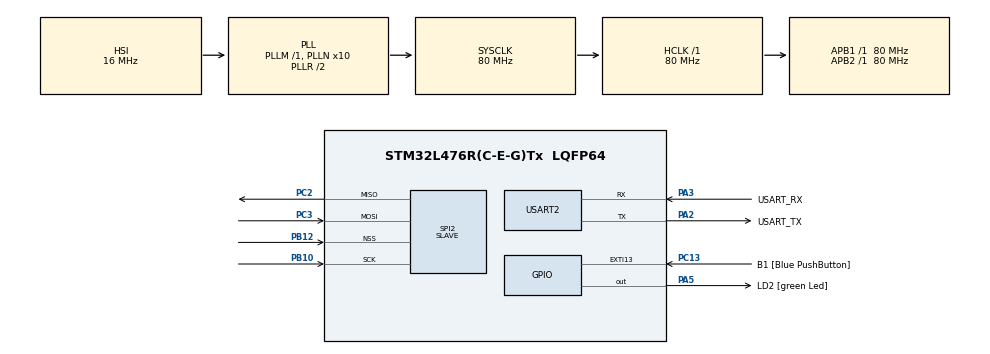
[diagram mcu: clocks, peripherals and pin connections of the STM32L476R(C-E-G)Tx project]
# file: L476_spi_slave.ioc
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Mcu.Family=STM32L4
Mcu.Name=STM32L476R(C-E-G)Tx
Mcu.Package=LQFP64
NVIC.PriorityGroup=NVIC_PRIORITYGROUP_4
PA13\ (JTMS-SWDIO).GPIO_Label=TMS
PA13\ (JTMS-SWDIO).Mode=Serial_Wire
PA13\ (JTMS-SWDIO).Signal=SYS_JTMS-SWDIO
PA14\ (JTCK-SWCLK).GPIO_Label=TCK
PA14\ (JTCK-SWCLK).Mode=Serial_Wire
PA14\ (JTCK-SWCLK).Signal=SYS_JTCK-SWCLK
PA2.GPIO_Label=USART_TX
PA2.GPIO_Mode=GPIO_MODE_AF_PP
PA2.GPIO_PuPd=GPIO_NOPULL
PA2.GPIO_Speed=GPIO_SPEED_FREQ_VERY_HIGH
PA2.Mode=Asynchronous
PA2.Signal=USART2_TX
PA3.GPIO_Label=USART_RX
PA3.GPIO_Mode=GPIO_MODE_AF_PP
PA3.GPIO_PuPd=GPIO_NOPULL
PA3.GPIO_Speed=GPIO_SPEED_FREQ_VERY_HIGH
PA3.Mode=Asynchronous
PA3.Signal=USART2_RX
PA5.GPIO_Label=LD2 [green Led]
PA5.GPIO_ModeDefaultOutputPP=GPIO_MODE_OUTPUT_PP
PA5.GPIO_PuPd=GPIO_NOPULL
PA5.GPIO_Speed=GPIO_SPEED_FREQ_LOW
PA5.Signal=GPIO_Output
PB10.Mode=Full_Duplex_Slave
PB10.Signal=SPI2_SCK
PB12.Mode=NSS_Signal_Hard_Input
PB12.Signal=SPI2_NSS
PB3\ (JTDO-TRACESWO).GPIO_Label=SWO
PB3\ (JTDO-TRACESWO).Signal=SYS_JTDO-SWO
PC13.GPIO_Label=B1 [Blue PushButton]
PC13.GPIO_ModeDefaultEXTI=GPIO_MODE_IT_FALLING
PC13.GPIO_PuPd=GPIO_NOPULL
PC13.Signal=GPXTI13
PC14-OSC32_IN\ (PC14).Mode=LSE-External-Oscillator
PC14-OSC32_IN\ (PC14).Signal=RCC_OSC32_IN
PC15-OSC32_OUT\ (PC15).Mode=LSE-External-Oscillator
PC15-OSC32_OUT\ (PC15).Signal=RCC_OSC32_OUT
PC2.Mode=Full_Duplex_Slave
PC2.Signal=SPI2_MISO
PC3.Mode=Full_Duplex_Slave
PC3.Signal=SPI2_MOSI
PH0-OSC_IN\ (PH0).Signal=RCC_OSC_IN
PH1-OSC_OUT\ (PH1).Signal=RCC_OSC_OUT
ProjectManager.HeapSize=0x200
ProjectManager.StackSize=0x400
ProjectManager.TargetToolchain=STM32CubeIDE
RCC.ADCFreq_Value=64000000
RCC.AHBFreq_Value=80000000
RCC.APB1Freq_Value=80000000
RCC.APB1TimFreq_Value=80000000
RCC.APB2Freq_Value=80000000
RCC.APB2TimFreq_Value=80000000
RCC.CortexFreq_Value=80000000
RCC.HCLKFreq_Value=80000000
RCC.HSE_VALUE=8000000
RCC.HSI_VALUE=16000000
RCC.MSI_VALUE=4000000
RCC.PLLN=10
RCC.PLLSourceVirtual=RCC_PLLSOURCE_HSI
RCC.PREFETCH_ENABLE=1
RCC.SYSCLKFreq_VALUE=80000000
RCC.SYSCLKSource=RCC_SYSCLKSOURCE_PLLCLK
RCC.USBFreq_Value=64000000
RCC.VCOOutputFreq_Value=160000000
SPI2.CLKPolarity=SPI_POLARITY_LOW
SPI2.DataSize=SPI_DATASIZE_8BIT
SPI2.Direction=SPI_DIRECTION_2LINES
SPI2.FirstBit=SPI_FIRSTBIT_MSB
SPI2.Mode=SPI_MODE_SLAVE
SPI2.VirtualNSS=VM_NSSHARD
SPI2.VirtualType=VM_SLAVE
USART2.VirtualMode-Asynchronous=VM_ASYNC
board=NUCLEO-L476RG

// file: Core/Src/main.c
/* USER CODE BEGIN Header */
/**
  ******************************************************************************
  * @file           : main.c
  * @brief          : Main program body
  ******************************************************************************
  * @attention
  *
  * <h2><center>&copy; Copyright (c) 2021 STMicroelectronics.
  * All rights reserved.</center></h2>
  *
  * This software component is licensed by ST under BSD 3-Clause license,
  * the "License"; You may not use this file except in compliance with the
  * License. You may obtain a copy of the License at:
  *                        opensource.org/licenses/BSD-3-Clause
  *
  ******************************************************************************
  */
/* USER CODE END Header */
#include "main.h"

/* USER CODE BEGIN Includes */
#include <errno.h>
#include <stdio.h>
/* USER CODE END Includes */

SPI_HandleTypeDef hspi2;

UART_HandleTypeDef huart2;

/* USER CODE BEGIN PV */
int _write(int fd, char* ptr, int len) {
  HAL_StatusTypeDef hstatus;
  hstatus = HAL_UART_Transmit(&huart2, (uint8_t *) ptr, len, HAL_MAX_DELAY);
  if (hstatus == HAL_OK)
    return len;
  else
    return EIO;
}
/* USER CODE END PV */

void SystemClock_Config(void);
static void MX_GPIO_Init(void);
static void MX_USART2_UART_Init(void);
static void MX_SPI2_Init(void);
/* USER CODE BEGIN PFP */
uint8_t rx_spi_buff[512] = {0};
uint8_t tx_spi_buff[512] = {0};
/* USER CODE END PFP */

/* USER CODE BEGIN 0 */
#include "process_header.h"

int receive() {
  int ret = -1;
  HAL_StatusTypeDef hstatus = HAL_SPI_Receive(&hspi2, rx_spi_buff, 1, 500);
  if (hstatus == HAL_OK) {
    ret = rx_spi_buff[0];
  }
  else {
//    printf("failed\n");
  }

  return ret;
}

int transmit(uint8_t *input, size_t size) {
  int ret = -1;
  uint8_t rx_data = 0;
  HAL_StatusTypeDef hstatus = HAL_SPI_TransmitReceive(&hspi2, input, &rx_data, size, 500);
  if (hstatus == HAL_OK) {
    ret = rx_spi_buff[0];
  }
  else {
  ;
//    printf("failed\n");
  }

  return ret;
}

/* USER CODE END 0 */

int main(void)
{

  /* MCU Configuration--------------------------------------------------------*/

  /* Reset of all peripherals, Initializes the Flash interface and the Systick. */
  HAL_Init();

  /* Configure the system clock */
  SystemClock_Config();

  /* Initialize all configured peripherals */
  MX_GPIO_Init();
  MX_USART2_UART_Init();
  MX_SPI2_Init();

  /* Infinite loop */
  /* USER CODE BEGIN WHILE */

  register_transmit_callback(transmit);

  while (1) {
    int val = receive();
    if (val == -1) {
      // no new data
      set_state(STATE_IDLE);
      continue;
    }

    enum state st = get_state(val);
    if (st == STATE_TRANSMIT) {

      uint8_t *header = get_header();
      struct cmd *tpm_command = get_command();
      uint16_t data = 0;

      if (tpm_command->rw == WRITE_REQ) {
        data = receive();
      } else {
        data = 0x80;
        transmit((uint8_t *)&data, 1);
      }

//      printf("header %x %x %x %x\n", header[0], header[1], header[2], header[3]);
      printf("addr 0x%lx size %d dir: %s\n", tpm_command->addr, tpm_command->size, tpm_command->rw ? "read" : "write");

      if (tpm_command->rw == WRITE_REQ) {
        printf("received data %x\n", data);
      } else {
        printf("sent data %x\n", data);
      }

      printf("\n");

      set_state(STATE_IDLE);
    }
    /* USER CODE END WHILE */
  }
}

void SystemClock_Config(void)
{
  RCC_OscInitTypeDef RCC_OscInitStruct = {0};
  RCC_ClkInitTypeDef RCC_ClkInitStruct = {0};

  /** Configure the main internal regulator output voltage
  */
  if (HAL_PWREx_ControlVoltageScaling(PWR_REGULATOR_VOLTAGE_SCALE1) != HAL_OK)
  {
    Error_Handler();
  }
  /** Initializes the RCC Oscillators according to the specified parameters
  * in the RCC_OscInitTypeDef structure.
  */
  RCC_OscInitStruct.OscillatorType = RCC_OSCILLATORTYPE_HSI;
  RCC_OscInitStruct.HSIState = RCC_HSI_ON;
  RCC_OscInitStruct.HSICalibrationValue = RCC_HSICALIBRATION_DEFAULT;
  RCC_OscInitStruct.PLL.PLLState = RCC_PLL_ON;
  RCC_OscInitStruct.PLL.PLLSource = RCC_PLLSOURCE_HSI;
  RCC_OscInitStruct.PLL.PLLM = 1;
  RCC_OscInitStruct.PLL.PLLN = 10;
  RCC_OscInitStruct.PLL.PLLP = RCC_PLLP_DIV7;
  RCC_OscInitStruct.PLL.PLLQ = RCC_PLLQ_DIV2;
  RCC_OscInitStruct.PLL.PLLR = RCC_PLLR_DIV2;
  if (HAL_RCC_OscConfig(&RCC_OscInitStruct) != HAL_OK)
  {
    Error_Handler();
  }
  /** Initializes the CPU, AHB and APB buses clocks
  */
  RCC_ClkInitStruct.ClockType = RCC_CLOCKTYPE_HCLK|RCC_CLOCKTYPE_SYSCLK
                              |RCC_CLOCKTYPE_PCLK1|RCC_CLOCKTYPE_PCLK2;
  RCC_ClkInitStruct.SYSCLKSource = RCC_SYSCLKSOURCE_PLLCLK;
  RCC_ClkInitStruct.AHBCLKDivider = RCC_SYSCLK_DIV1;
  RCC_ClkInitStruct.APB1CLKDivider = RCC_HCLK_DIV1;
  RCC_ClkInitStruct.APB2CLKDivider = RCC_HCLK_DIV1;

  if (HAL_RCC_ClockConfig(&RCC_ClkInitStruct, FLASH_LATENCY_4) != HAL_OK)
  {
    Error_Handler();
  }
}

static void MX_SPI2_Init(void)
{

  /* SPI2 parameter configuration*/
  hspi2.Instance = SPI2;
  hspi2.Init.Mode = SPI_MODE_SLAVE;
  hspi2.Init.Direction = SPI_DIRECTION_2LINES;
  hspi2.Init.DataSize = SPI_DATASIZE_8BIT;
  hspi2.Init.CLKPolarity = SPI_POLARITY_LOW;
  hspi2.Init.CLKPhase = SPI_PHASE_1EDGE;
  hspi2.Init.NSS = SPI_NSS_HARD_INPUT;
  hspi2.Init.FirstBit = SPI_FIRSTBIT_MSB;
  hspi2.Init.TIMode = SPI_TIMODE_DISABLE;
  hspi2.Init.CRCCalculation = SPI_CRCCALCULATION_DISABLE;
  hspi2.Init.CRCPolynomial = 7;
  hspi2.Init.CRCLength = SPI_CRC_LENGTH_DATASIZE;
  hspi2.Init.NSSPMode = SPI_NSS_PULSE_DISABLE;
  if (HAL_SPI_Init(&hspi2) != HAL_OK)
  {
    Error_Handler();
  }

}

static void MX_USART2_UART_Init(void)
{

  huart2.Instance = USART2;
  huart2.Init.BaudRate = 115200;
  huart2.Init.WordLength = UART_WORDLENGTH_8B;
  huart2.Init.StopBits = UART_STOPBITS_1;
  huart2.Init.Parity = UART_PARITY_NONE;
  huart2.Init.Mode = UART_MODE_TX_RX;
  huart2.Init.HwFlowCtl = UART_HWCONTROL_NONE;
  huart2.Init.OverSampling = UART_OVERSAMPLING_16;
  huart2.Init.OneBitSampling = UART_ONE_BIT_SAMPLE_DISABLE;
  huart2.AdvancedInit.AdvFeatureInit = UART_ADVFEATURE_NO_INIT;
  if (HAL_UART_Init(&huart2) != HAL_OK)
  {
    Error_Handler();
  }

}

static void MX_GPIO_Init(void)
{
  GPIO_InitTypeDef GPIO_InitStruct = {0};

  /* GPIO Ports Clock Enable */
  __HAL_RCC_GPIOC_CLK_ENABLE();
  __HAL_RCC_GPIOH_CLK_ENABLE();
  __HAL_RCC_GPIOA_CLK_ENABLE();
  __HAL_RCC_GPIOB_CLK_ENABLE();

  /*Configure GPIO pin Output Level */
  HAL_GPIO_WritePin(LD2_GPIO_Port, LD2_Pin, GPIO_PIN_RESET);

  /*Configure GPIO pin : B1_Pin */
  GPIO_InitStruct.Pin = B1_Pin;
  GPIO_InitStruct.Mode = GPIO_MODE_IT_FALLING;
  GPIO_InitStruct.Pull = GPIO_NOPULL;
  HAL_GPIO_Init(B1_GPIO_Port, &GPIO_InitStruct);

  /*Configure GPIO pin : LD2_Pin */
  GPIO_InitStruct.Pin = LD2_Pin;
  GPIO_InitStruct.Mode = GPIO_MODE_OUTPUT_PP;
  GPIO_InitStruct.Pull = GPIO_NOPULL;
  GPIO_InitStruct.Speed = GPIO_SPEED_FREQ_LOW;
  HAL_GPIO_Init(LD2_GPIO_Port, &GPIO_InitStruct);

}

void Error_Handler(void)
{
  __disable_irq();
  while (1)
  {
  }
}

/************************ (C) COPYRIGHT STMicroelectronics *****END OF FILE****/
